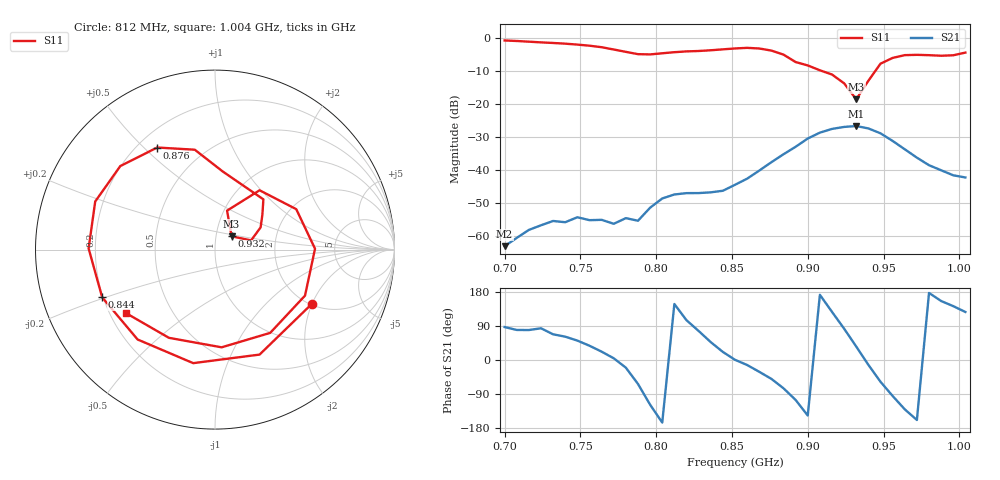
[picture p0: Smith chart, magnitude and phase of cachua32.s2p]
# Hz S RI R 50
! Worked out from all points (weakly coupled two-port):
!   39 points, 700 MHz to 1.004 GHz, reference 50 ohm
!   highest |S21| = -26.64 dB at 932 MHz (marker M1); lowest = -63.2 dB at 700 MHz (marker M2)
!   lowest |S11| = -18.5 dB at 932 MHz (marker M3), VSWR 1.27, Z = 59.5 + j8.93 ohm
!   |S11| at or under -10 dB: 910 MHz to 944.4 MHz (34.46 MHz wide, 3.72 % of centre)
!   S12 and S22 are empty: the file has one direction only
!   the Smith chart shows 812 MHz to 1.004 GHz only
!   S11 on the Smith chart (normalised r, x): 812 MHz: 2.02, -1.99; 844 MHz: 0.20, -0.20; 876 MHz: 0.28, +0.55; 932 MHz: 1.19, +0.18; 1.004 GHz: 0.27, -0.30
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7e8  0.7684 0.5274  3.72e-05 0.000692  0 0  0 0
7.24e8  0.8306 -0.2631  0.000158 0.00143  0 0  0 0
7.4e8  0.4456 -0.7036  0.000763 0.00141  0 0  0 0
7.56e8  -0.1984 -0.7498  0.00136 0.00105  0 0  0 0
7.72e8  -0.6535 -0.1835  0.00151 0.000119  0 0  0 0
7.8e8  -0.5797 0.2337  0.00173 -0.00064  0 0  0 0
7.88e8  -0.2223 0.5322  0.000761 -0.00151  0 0  0 0
7.96e8  0.2656 0.5062  -0.00125 -0.00235  0 0  0 0
8.04e8  0.5769 0.1444  -0.00356 -0.000943  0 0  0 0
8.12e8  0.5384 -0.3036  -0.00358 0.00226  0 0  0 0
8.28e8  -0.1214 -0.6326  0.00103 0.00433  0 0  0 0
8.44e8  -0.6285 -0.2661  0.0045 0.00175  0 0  0 0
8.52e8  -0.7041 0.00654  0.00594 5.54e-05  0 0  0 0
8.76e8  -0.322 0.5688  0.00846 -0.01  0 0  0 0
9e8  0.2695 0.28  -0.0251 -0.0166  0 0  0 0
9.08e8  0.264 0.1945  -0.0366 0.00511  0 0  0 0
9.32e8  0.0925 0.074  0.0379 0.027  0 0  0 0
9.48e8  0.2483 0.3305  0.0194 -0.0304  0 0  0 0
9.56e8  0.4527 0.2252  -0.00238 -0.0275  0 0  0 0
9.64e8  0.5573 0.00478  -0.0133 -0.0158  0 0  0 0
9.8e8  0.3075 -0.4639  -0.0118 0.000631  0 0  0 0
1.004e9  -0.496 -0.3537  -0.00459 0.00616  0 0  0 0
